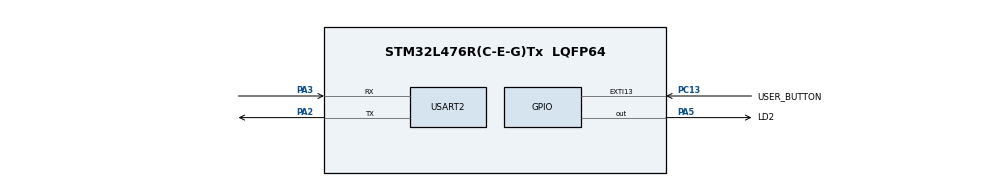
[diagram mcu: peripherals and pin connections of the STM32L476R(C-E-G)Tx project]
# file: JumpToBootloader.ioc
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Mcu.Family=STM32L4
Mcu.Name=STM32L476R(C-E-G)Tx
Mcu.Package=LQFP64
NVIC.EXTI15_10_IRQn=true\:0\:0\:false\:false\:true\:true\:true\:true
NVIC.PriorityGroup=NVIC_PRIORITYGROUP_4
NVIC.TIM6_DAC_IRQn=true\:1\:0\:true\:false\:true\:true\:true\:true
PA2.Mode=Asynchronous
PA2.Signal=USART2_TX
PA3.Mode=Asynchronous
PA3.Signal=USART2_RX
PA5.GPIO_Label=LD2
PA5.Signal=GPIO_Output
PC13.GPIO_Label=USER_BUTTON
PC13.Signal=GPXTI13
ProjectManager.HeapSize=0x200
ProjectManager.StackSize=0x400
ProjectManager.TargetToolchain=STM32CubeIDE
RCC.HSE_VALUE=8000000
RCC.HSI_VALUE=16000000
RCC.LSE_VALUE=32768
RCC.MSI_VALUE=4000000
RCC.VCOOutputFreq_Value=32000000
TIM6.Period=999
TIM6.Prescaler=7999
USART2.VirtualMode-Asynchronous=VM_ASYNC
VP_TIM6_VS_ClockSourceINT.Mode=Enable_Timer
board=custom

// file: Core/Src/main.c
/* USER CODE BEGIN Header */
/**
  ******************************************************************************
  * @file           : main.c
  * @brief          : Main program body
  ******************************************************************************
  Author: Kamil Duljas	kamil.duljas@gmail.com
  ******************************************************************************
  */
/* USER CODE END Header */
#include "main.h"
#include "tim.h"
#include "usart.h"
#include "gpio.h"

/* USER CODE BEGIN Includes */
#include <stdio.h>
/* USER CODE END Includes */

void SystemClock_Config(void);

/* USER CODE BEGIN 0 */
/**
 * Function to perform jump to system memory boot from user application
 *
 * Call function when you want to jump to system memory
 */
void JumpToBootloader(void)
{
	typedef void (*jumpFunction)(void);
	/**
	 * Step: Set system memory address. For STM32L476 System memory address: 0x1FFF 0000 (28 kB)
	 */
	volatile uint32_t sysmemaddr = 0x1FFF0000;

	/**
	 * Step: Disable RCC and other peripherals
	 */
	HAL_NVIC_DisableIRQ(EXTI15_10_IRQn);
	HAL_GPIO_DeInit(LD2_GPIO_Port, LD2_Pin) ;
	HAL_GPIO_DeInit(USER_BUTTON_GPIO_Port, USER_BUTTON_Pin);
	uint8_t isDeInitOk = 0;
	if (	HAL_RCC_DeInit() 										||
			HAL_UART_DeInit(&huart2) 								||
			HAL_TIM_Base_DeInit(&htim6)								||
			HAL_DeInit()
			== HAL_OK)
	{
		isDeInitOk = 1;
	}

	/**
	* Step: Disable systick timer and reset it to default values
	*/
		SysTick->CTRL = 0;
		SysTick->LOAD = 0;
		SysTick->VAL = 0;

	/**
	 * Step: Disable all interrupts
	 */
	__disable_irq();

	/**
	 * Step: Remap system memory to address 0x0000 0000 in address space
	 */
	__HAL_SYSCFG_REMAPMEMORY_SYSTEMFLASH();

	/**
	 * Step: Set jump memory location to system memory
	 */
	uint32_t jumpAddress = *(__IO uint32_t*)(sysmemaddr + 4);
	jumpFunction sysMemBootJump = (jumpFunction)jumpAddress;

	/**
		 * Step: Set main stack pointer.
		 *       This step must be done last otherwise local variables in this function
		 *       don't have proper value since stack pointer is located on different position
		 *
		 *       Set direct address location which specifies stack pointer in SRAM location
		 */
		__set_MSP(*(__IO uint32_t *)sysmemaddr);

		/**
		 * Step: Actually call our function to jump to set location. This will start system memory execution.
		 * If isDeinitOk flag is not set, then call system reset.
		 */
		if(isDeInitOk)
		{
			sysMemBootJump();
		}
		else
		{
			HAL_NVIC_SystemReset();
		}
}

int __io_putchar(int ch)
{
  if (ch == '\n') {
    __io_putchar('\r');
  }

  HAL_UART_Transmit(&huart2, (uint8_t*)&ch, 1, HAL_MAX_DELAY);

  return 1;
}
void HAL_TIM_PeriodElapsedCallback(TIM_HandleTypeDef *htim)
{
	HAL_GPIO_TogglePin(LD2_GPIO_Port, LD2_Pin);
}
static int flag = 0;
void HAL_GPIO_EXTI_Callback(uint16_t GPIO_Pin)
{
	if (GPIO_Pin == USER_BUTTON_Pin)
	{
		/**
		 * DEBUG logs
		 */
		printf("Current remaped memory on address 0x0 is flash memory\n");
		for (int i = 1; i <= 12; i++)
		{
			printf("%08lx\t", *((uint32_t*)(0x0 + 4 * (i-1))));
			if (i % 4 == 0)
				printf("\n");
		}
		printf("\n\nThe same memory on address 0x0800 0000\n");
			for (int i = 1; i <= 12; i++)
			{
				printf("%08lx\t", *((uint32_t*)(0x08000000 + 4 * (i-1))));
				if (i % 4 == 0)
					printf("\n");
			}
		printf("\n\nSystem memory address 0x1FFF 0000\n");
		for (uint32_t i = 1; i <= 12; i++)
		{
			printf("%08lx\t", *((uint32_t*)(0x1FFF0000 + 4 * (i-1))));
			if (i % 4 == 0)
				printf("\n");
		}

		printf("\n\nEntering bootloader...\n");
		for (int i = 0; i < 100000; i++)
		{
			if( i%10000 == 0)
			HAL_GPIO_TogglePin(LD2_GPIO_Port, LD2_Pin);
		}

		/**
		 * Jump to bootloader
		 */
		flag =1;

	}
}

void paintStack()
{
	extern uint32_t _estack;
	static uintptr_t *sp;
	asm volatile ("mrs %0, msp" : "=r"(sp));
	uintptr_t *stackEnd =  ((uintptr_t *)(&_estack));
	uintptr_t* dst = stackEnd - (8192 / sizeof(uintptr_t));
	while (dst < sp)
	{
		*dst = 0xDEADC0DE;
		dst++;
	}
}
/* USER CODE END 0 */

int main(void)
{

  /* MCU Configuration--------------------------------------------------------*/

  /* Reset of all peripherals, Initializes the Flash interface and the Systick. */
  HAL_Init();

  /* Configure the system clock */
  SystemClock_Config();

  /* Initialize all configured peripherals */
  MX_GPIO_Init();
  MX_USART2_UART_Init();
  MX_TIM6_Init();
  /* USER CODE BEGIN 2 */
  HAL_TIM_Base_Start_IT(&htim6);
  /* USER CODE END 2 */

  /* Infinite loop */
  while (1)
  {

    /* USER CODE BEGIN 3 */
	  if (flag == 1)
	  {
		  JumpToBootloader();
	  }
  }
  /* USER CODE END 3 */
}

void SystemClock_Config(void)
{
  RCC_OscInitTypeDef RCC_OscInitStruct = {0};
  RCC_ClkInitTypeDef RCC_ClkInitStruct = {0};

  /** Configure the main internal regulator output voltage
  */
  if (HAL_PWREx_ControlVoltageScaling(PWR_REGULATOR_VOLTAGE_SCALE1) != HAL_OK)
  {
    Error_Handler();
  }

  /** Initializes the RCC Oscillators according to the specified parameters
  * in the RCC_OscInitTypeDef structure.
  */
  RCC_OscInitStruct.OscillatorType = RCC_OSCILLATORTYPE_MSI;
  RCC_OscInitStruct.MSIState = RCC_MSI_ON;
  RCC_OscInitStruct.MSICalibrationValue = 0;
  RCC_OscInitStruct.MSIClockRange = RCC_MSIRANGE_6;
  RCC_OscInitStruct.PLL.PLLState = RCC_PLL_NONE;
  if (HAL_RCC_OscConfig(&RCC_OscInitStruct) != HAL_OK)
  {
    Error_Handler();
  }

  /** Initializes the CPU, AHB and APB buses clocks
  */
  RCC_ClkInitStruct.ClockType = RCC_CLOCKTYPE_HCLK|RCC_CLOCKTYPE_SYSCLK
                              |RCC_CLOCKTYPE_PCLK1|RCC_CLOCKTYPE_PCLK2;
  RCC_ClkInitStruct.SYSCLKSource = RCC_SYSCLKSOURCE_MSI;
  RCC_ClkInitStruct.AHBCLKDivider = RCC_SYSCLK_DIV1;
  RCC_ClkInitStruct.APB1CLKDivider = RCC_HCLK_DIV1;
  RCC_ClkInitStruct.APB2CLKDivider = RCC_HCLK_DIV1;

  if (HAL_RCC_ClockConfig(&RCC_ClkInitStruct, FLASH_LATENCY_0) != HAL_OK)
  {
    Error_Handler();
  }
}

void Error_Handler(void)
{
  __disable_irq();
  while (1)
  {
  }
}
